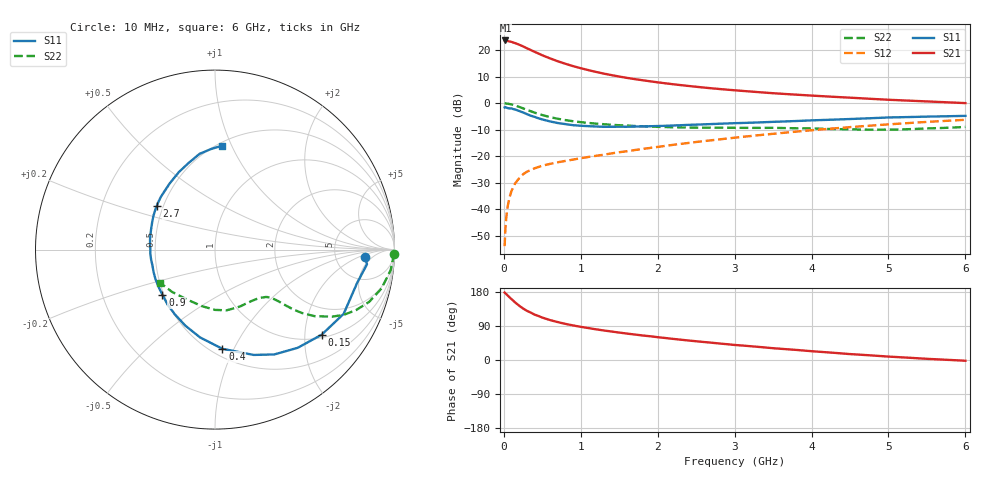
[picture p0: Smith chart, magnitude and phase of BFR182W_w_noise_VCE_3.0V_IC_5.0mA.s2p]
! Infineon Technologies  Discrete & RF Semiconductors
! BFR182W
! VCE =  3.0 V,  IC =  5.0 mA
! Common Emitter S-Parameters:  Jan 2017
# GHz  S  MA  R  50
!  f  S11  S21  S12  S22
! GHz  MAG  ANG  MAG  ANG  MAG  ANG  MAG  ANG
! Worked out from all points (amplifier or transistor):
!   77 points, 10 MHz to 6 GHz, reference 50 ohm
!   highest |S21| = 23.8 dB at 20 MHz (marker M1)
!   |S21| within 3 dB of that: start of sweep to 303.7 MHz
!   unconditionally stable (mu >= 1): 1.335 GHz to 2.91 GHz
!   at 130 MHz: K = 0.18, MSG = 27.1 dB, |S12| = -31.2 dB
!   at 2.2 GHz: K = 1.05, MAG = 10.1 dB, |S12| = -15.7 dB
!   at 6 GHz: K = 0.85, MSG = 3.2 dB, |S12| = -6.2 dB
!   lowest NFmin = 0.88 dB at 450 MHz
!   S11 on the Smith chart (normalised r, x): 10 MHz: 10, -3; 150 MHz: 1.08, -2.43; 400 MHz: 0.57, -0.90; 900 MHz: 0.49, -0.29; 2.7 GHz: 0.46, +0.27; 6 GHz: 0.53, +0.92
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0.01  0.836 -2.9  15.19 178.0  0.002 91.8  0.9999 -1.3
0.02  0.8509 -5.5  15.4 176.2  0.0042 102.9  0.9939 -2.8
0.05  0.8131 -13.3  15.04 170.1  0.0113 83.2  0.9848 -6.8
0.1  0.8012 -26.5  14.48 160.4  0.0221 76.2  0.9529 -13.1
0.15  0.7603 -38.6  13.68 151.3  0.0312 70.6  0.9074 -18.7
0.2  0.7153 -49.9  12.79 143.2  0.0384 66.4  0.8553 -23.2
0.25  0.6711 -60.5  11.9 135.9  0.0457 61.9  0.8038 -26.9
0.3  0.6254 -69.8  10.96 129.8  0.051 59.0  0.7517 -29.8
0.4  0.5542 -85.7  9.399 119.7  0.0591 54.8  0.6662 -33.8
0.5  0.4965 -99.6  8.082 111.9  0.0663 53.3  0.5993 -36.1
0.6  0.4549 -111.3  7.067 105.4  0.0717 51.9  0.5493 -37.4
0.7  0.4246 -121.8  6.237 100.1  0.0768 52.1  0.5107 -38.1
0.8  0.4045 -130.8  5.59 95.3  0.0815 52.8  0.482 -38.7
0.9  0.3862 -139.3  5.037 91.2  0.0864 53.0  0.4586 -39.1
1.1  0.3701 -153.7  4.234 84.2  0.0969 54.5  0.4259 -40.1
1.5  0.361 -175.9  3.203 72.4  0.1189 57.2  0.3852 -43.3
2.1  0.376 160.3  2.389 58.0  0.1571 59.1  0.3557 -52.0
2.7  0.4055 143.1  1.923 45.6  0.2005 58.7  0.346 -63.6
3.1  0.4252 133.3  1.717 38.2  0.2322 57.4  0.344 -71.4
4.1  0.4814 113.3  1.374 21.8  0.3186 51.3  0.332 -92.6
5.1  0.5439 97.7  1.15 7.9  0.4091 42.5  0.3202 -122.7
6  0.5792 86.3  1.009 -2.0  0.488 33.1  0.3578 -149.0
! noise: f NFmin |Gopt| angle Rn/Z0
0.45  0.88  0.26  32  0.17
0.9  0.98  0.21  59  0.16
1.9  1.55  0.19  162  0.13
2.4  1.83  0.21  176  0.17
